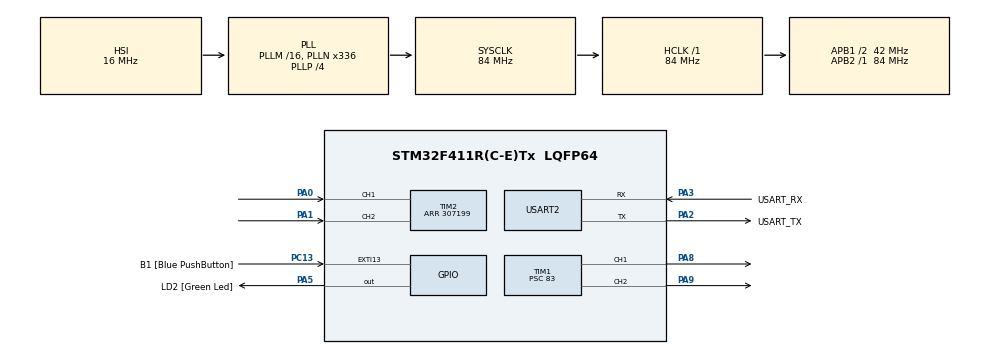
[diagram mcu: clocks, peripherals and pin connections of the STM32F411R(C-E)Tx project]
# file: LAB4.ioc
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Mcu.Family=STM32F4
Mcu.Name=STM32F411R(C-E)Tx
Mcu.Package=LQFP64
NVIC.PriorityGroup=NVIC_PRIORITYGROUP_0
NVIC.TIM2_IRQn=true\:0\:0\:false\:false\:true\:true\:true\:true
PA0-WKUP.Signal=S_TIM2_CH1_ETR
PA1.Signal=S_TIM2_CH2
PA13.GPIO_Label=TMS
PA13.Mode=Serial_Wire
PA13.Signal=SYS_JTMS-SWDIO
PA14.GPIO_Label=TCK
PA14.Mode=Serial_Wire
PA14.Signal=SYS_JTCK-SWCLK
PA2.GPIO_Label=USART_TX
PA2.Mode=Asynchronous
PA2.Signal=USART2_TX
PA3.GPIO_Label=USART_RX
PA3.Mode=Asynchronous
PA3.Signal=USART2_RX
PA5.GPIO_Label=LD2 [Green Led]
PA5.Signal=GPIO_Output
PA8.Signal=S_TIM1_CH1
PA9.Signal=S_TIM1_CH2
PB3.GPIO_Label=SWO
PB3.Signal=SYS_JTDO-SWO
PC13-ANTI_TAMP.GPIO_Label=B1 [Blue PushButton]
PC13-ANTI_TAMP.GPIO_ModeDefaultEXTI=GPIO_MODE_IT_FALLING
PC13-ANTI_TAMP.Signal=GPXTI13
PC14-OSC32_IN.Mode=LSE-External-Oscillator
PC14-OSC32_IN.Signal=RCC_OSC32_IN
PC15-OSC32_OUT.Mode=LSE-External-Oscillator
PC15-OSC32_OUT.Signal=RCC_OSC32_OUT
PH0\ -\ OSC_IN.Mode=HSE-External-Clock-Source
PH0\ -\ OSC_IN.Signal=RCC_OSC_IN
PH1\ -\ OSC_OUT.Mode=HSE-External-Clock-Source
PH1\ -\ OSC_OUT.Signal=RCC_OSC_OUT
ProjectManager.HeapSize=0x200
ProjectManager.StackSize=0x400
ProjectManager.TargetToolchain=STM32CubeIDE
RCC.48MHZClocksFreq_Value=84000000
RCC.AHBFreq_Value=84000000
RCC.APB1CLKDivider=RCC_HCLK_DIV2
RCC.APB1Freq_Value=42000000
RCC.APB1TimFreq_Value=84000000
RCC.APB2Freq_Value=84000000
RCC.APB2TimFreq_Value=84000000
RCC.CortexFreq_Value=84000000
RCC.FLatency-AdvancedSettings=FLASH_LATENCY_2
RCC.HCLKFreq_Value=84000000
RCC.HSE_VALUE=8000000
RCC.HSI_VALUE=16000000
RCC.PLLN=336
RCC.PLLP=RCC_PLLP_DIV4
RCC.SYSCLKFreq_VALUE=84000000
RCC.SYSCLKSource=RCC_SYSCLKSOURCE_PLLCLK
RCC.VCOOutputFreq_Value=336000000
SH.S_TIM1_CH1.0=TIM1_CH1,PWM Generation1 CH1
SH.S_TIM1_CH2.0=TIM1_CH2,PWM Generation2 CH2
SH.S_TIM2_CH1_ETR.0=TIM2_CH1,Encoder_Interface
SH.S_TIM2_CH2.0=TIM2_CH2,Encoder_Interface
TIM1.AutoReloadPreload=TIM_AUTORELOAD_PRELOAD_ENABLE
TIM1.Channel-PWM\ Generation1\ CH1=TIM_CHANNEL_1
TIM1.Channel-PWM\ Generation2\ CH2=TIM_CHANNEL_2
TIM1.OCMode_PWM-PWM\ Generation1\ CH1=TIM_OCMODE_PWM1
TIM1.Period=800
TIM1.Prescaler=83
TIM2.EncoderMode=TIM_ENCODERMODE_TI12
TIM2.Period=307199
USART2.VirtualMode=VM_ASYNC
board=NUCLEO-F411RE

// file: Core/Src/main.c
/* USER CODE BEGIN Header */
/**
  ******************************************************************************
  * @file           : main.c
  * @brief          : Main program body
  ******************************************************************************
  * @attention
  *
  * Copyright (c) 2023 STMicroelectronics.
  * All rights reserved.
  *
  * This software is licensed under terms that can be found in the LICENSE file
  * in the root directory of this software component.
  * If no LICENSE file comes with this software, it is provided AS-IS.
  *
  ******************************************************************************
  */
/* USER CODE END Header */
#include "main.h"

/* USER CODE BEGIN Includes */
#include <stdbool.h>
/* USER CODE END Includes */

TIM_HandleTypeDef htim1;
TIM_HandleTypeDef htim2;

UART_HandleTypeDef huart2;

/* USER CODE BEGIN PV */
uint32_t QEIRead;
int32_t error_within;
uint32_t degree = 800;
uint32_t setposition = 0;
float real_position;
static uint32_t timestamp = 0;
uint8_t status = 0;
double Gain_error, integral_error, differential_error, prev_error;
//TIM3 can't reach to 307199 cuz 2^16(bit) so have to use TIM 2 for setting in 307199 from requirement by using 32 bit 2^32 4294967296 not overflow now

/* USER CODE END PV */

void SystemClock_Config(void);
static void MX_GPIO_Init(void);
static void MX_USART2_UART_Init(void);
static void MX_TIM1_Init(void);
static void MX_TIM2_Init(void);
/* USER CODE BEGIN PFP */
void Motor_drive_control(float VIn);
double PID(int32_t error);
/* USER CODE END PFP */

int main(void)
{

  /* MCU Configuration--------------------------------------------------------*/

  /* Reset of all peripherals, Initializes the Flash interface and the Systick. */
  HAL_Init();

  /* Configure the system clock */
  SystemClock_Config();

  /* Initialize all configured peripherals */
  MX_GPIO_Init();
  MX_USART2_UART_Init();
  MX_TIM1_Init();
  MX_TIM2_Init();
  /* USER CODE BEGIN 2 */

  HAL_TIM_Encoder_Start(&htim2, TIM_CHANNEL_1|TIM_CHANNEL_2);

  HAL_TIM_Base_Start(&htim1);
  HAL_TIM_PWM_Start(&htim1, TIM_CHANNEL_1);
  HAL_TIM_PWM_Start(&htim1, TIM_CHANNEL_2);

  /* USER CODE END 2 */

  /* Infinite loop */
  /* USER CODE BEGIN WHILE */
  while (1)
  {
	  	  QEIRead = __HAL_TIM_GET_COUNTER(&htim2);
	  	  setposition = degree * 8.533333; // degree * (3072/360)=8.533333

	  	  if(timestamp < HAL_GetTick()){
	  		  timestamp = HAL_GetTick()+10;
	  		  real_position = PID(setposition - QEIRead);
	  		  if(real_position >= 800){
	  			  real_position = 800;
	  		  }

	  		  else if(real_position <= -800){
	  			  real_position = -800;
	  		  }
	  		  Motor_drive_control(real_position);
	  	  }
    /* USER CODE END WHILE */

  }
}

void SystemClock_Config(void)
{
  RCC_OscInitTypeDef RCC_OscInitStruct = {0};
  RCC_ClkInitTypeDef RCC_ClkInitStruct = {0};

  /** Configure the main internal regulator output voltage
  */
  __HAL_RCC_PWR_CLK_ENABLE();
  __HAL_PWR_VOLTAGESCALING_CONFIG(PWR_REGULATOR_VOLTAGE_SCALE1);

  /** Initializes the RCC Oscillators according to the specified parameters
  * in the RCC_OscInitTypeDef structure.
  */
  RCC_OscInitStruct.OscillatorType = RCC_OSCILLATORTYPE_HSI;
  RCC_OscInitStruct.HSIState = RCC_HSI_ON;
  RCC_OscInitStruct.HSICalibrationValue = RCC_HSICALIBRATION_DEFAULT;
  RCC_OscInitStruct.PLL.PLLState = RCC_PLL_ON;
  RCC_OscInitStruct.PLL.PLLSource = RCC_PLLSOURCE_HSI;
  RCC_OscInitStruct.PLL.PLLM = 16;
  RCC_OscInitStruct.PLL.PLLN = 336;
  RCC_OscInitStruct.PLL.PLLP = RCC_PLLP_DIV4;
  RCC_OscInitStruct.PLL.PLLQ = 4;
  if (HAL_RCC_OscConfig(&RCC_OscInitStruct) != HAL_OK)
  {
    Error_Handler();
  }

  /** Initializes the CPU, AHB and APB buses clocks
  */
  RCC_ClkInitStruct.ClockType = RCC_CLOCKTYPE_HCLK|RCC_CLOCKTYPE_SYSCLK
                              |RCC_CLOCKTYPE_PCLK1|RCC_CLOCKTYPE_PCLK2;
  RCC_ClkInitStruct.SYSCLKSource = RCC_SYSCLKSOURCE_PLLCLK;
  RCC_ClkInitStruct.AHBCLKDivider = RCC_SYSCLK_DIV1;
  RCC_ClkInitStruct.APB1CLKDivider = RCC_HCLK_DIV2;
  RCC_ClkInitStruct.APB2CLKDivider = RCC_HCLK_DIV1;

  if (HAL_RCC_ClockConfig(&RCC_ClkInitStruct, FLASH_LATENCY_2) != HAL_OK)
  {
    Error_Handler();
  }
}

static void MX_TIM1_Init(void)
{

  TIM_MasterConfigTypeDef sMasterConfig = {0};
  TIM_OC_InitTypeDef sConfigOC = {0};
  TIM_BreakDeadTimeConfigTypeDef sBreakDeadTimeConfig = {0};

  htim1.Instance = TIM1;
  htim1.Init.Prescaler = 83;
  htim1.Init.CounterMode = TIM_COUNTERMODE_UP;
  htim1.Init.Period = 800;
  htim1.Init.ClockDivision = TIM_CLOCKDIVISION_DIV1;
  htim1.Init.RepetitionCounter = 0;
  htim1.Init.AutoReloadPreload = TIM_AUTORELOAD_PRELOAD_ENABLE;
  if (HAL_TIM_PWM_Init(&htim1) != HAL_OK)
  {
    Error_Handler();
  }
  sMasterConfig.MasterOutputTrigger = TIM_TRGO_RESET;
  sMasterConfig.MasterSlaveMode = TIM_MASTERSLAVEMODE_DISABLE;
  if (HAL_TIMEx_MasterConfigSynchronization(&htim1, &sMasterConfig) != HAL_OK)
  {
    Error_Handler();
  }
  sConfigOC.OCMode = TIM_OCMODE_PWM1;
  sConfigOC.Pulse = 0;
  sConfigOC.OCPolarity = TIM_OCPOLARITY_HIGH;
  sConfigOC.OCNPolarity = TIM_OCNPOLARITY_HIGH;
  sConfigOC.OCFastMode = TIM_OCFAST_DISABLE;
  sConfigOC.OCIdleState = TIM_OCIDLESTATE_RESET;
  sConfigOC.OCNIdleState = TIM_OCNIDLESTATE_RESET;
  if (HAL_TIM_PWM_ConfigChannel(&htim1, &sConfigOC, TIM_CHANNEL_1) != HAL_OK)
  {
    Error_Handler();
  }
  if (HAL_TIM_PWM_ConfigChannel(&htim1, &sConfigOC, TIM_CHANNEL_2) != HAL_OK)
  {
    Error_Handler();
  }
  sBreakDeadTimeConfig.OffStateRunMode = TIM_OSSR_DISABLE;
  sBreakDeadTimeConfig.OffStateIDLEMode = TIM_OSSI_DISABLE;
  sBreakDeadTimeConfig.LockLevel = TIM_LOCKLEVEL_OFF;
  sBreakDeadTimeConfig.DeadTime = 0;
  sBreakDeadTimeConfig.BreakState = TIM_BREAK_DISABLE;
  sBreakDeadTimeConfig.BreakPolarity = TIM_BREAKPOLARITY_HIGH;
  sBreakDeadTimeConfig.AutomaticOutput = TIM_AUTOMATICOUTPUT_DISABLE;
  if (HAL_TIMEx_ConfigBreakDeadTime(&htim1, &sBreakDeadTimeConfig) != HAL_OK)
  {
    Error_Handler();
  }
  HAL_TIM_MspPostInit(&htim1);

}

static void MX_TIM2_Init(void)
{

  TIM_Encoder_InitTypeDef sConfig = {0};
  TIM_MasterConfigTypeDef sMasterConfig = {0};

  htim2.Instance = TIM2;
  htim2.Init.Prescaler = 0;
  htim2.Init.CounterMode = TIM_COUNTERMODE_UP;
  htim2.Init.Period = 307199;
  htim2.Init.ClockDivision = TIM_CLOCKDIVISION_DIV1;
  htim2.Init.AutoReloadPreload = TIM_AUTORELOAD_PRELOAD_DISABLE;
  sConfig.EncoderMode = TIM_ENCODERMODE_TI12;
  sConfig.IC1Polarity = TIM_ICPOLARITY_RISING;
  sConfig.IC1Selection = TIM_ICSELECTION_DIRECTTI;
  sConfig.IC1Prescaler = TIM_ICPSC_DIV1;
  sConfig.IC1Filter = 0;
  sConfig.IC2Polarity = TIM_ICPOLARITY_RISING;
  sConfig.IC2Selection = TIM_ICSELECTION_DIRECTTI;
  sConfig.IC2Prescaler = TIM_ICPSC_DIV1;
  sConfig.IC2Filter = 0;
  if (HAL_TIM_Encoder_Init(&htim2, &sConfig) != HAL_OK)
  {
    Error_Handler();
  }
  sMasterConfig.MasterOutputTrigger = TIM_TRGO_RESET;
  sMasterConfig.MasterSlaveMode = TIM_MASTERSLAVEMODE_DISABLE;
  if (HAL_TIMEx_MasterConfigSynchronization(&htim2, &sMasterConfig) != HAL_OK)
  {
    Error_Handler();
  }

}

static void MX_USART2_UART_Init(void)
{

  huart2.Instance = USART2;
  huart2.Init.BaudRate = 115200;
  huart2.Init.WordLength = UART_WORDLENGTH_8B;
  huart2.Init.StopBits = UART_STOPBITS_1;
  huart2.Init.Parity = UART_PARITY_NONE;
  huart2.Init.Mode = UART_MODE_TX_RX;
  huart2.Init.HwFlowCtl = UART_HWCONTROL_NONE;
  huart2.Init.OverSampling = UART_OVERSAMPLING_16;
  if (HAL_UART_Init(&huart2) != HAL_OK)
  {
    Error_Handler();
  }

}

static void MX_GPIO_Init(void)
{
  GPIO_InitTypeDef GPIO_InitStruct = {0};

  /* GPIO Ports Clock Enable */
  __HAL_RCC_GPIOC_CLK_ENABLE();
  __HAL_RCC_GPIOH_CLK_ENABLE();
  __HAL_RCC_GPIOA_CLK_ENABLE();
  __HAL_RCC_GPIOB_CLK_ENABLE();

  /*Configure GPIO pin Output Level */
  HAL_GPIO_WritePin(LD2_GPIO_Port, LD2_Pin, GPIO_PIN_RESET);

  /*Configure GPIO pin : B1_Pin */
  GPIO_InitStruct.Pin = B1_Pin;
  GPIO_InitStruct.Mode = GPIO_MODE_IT_FALLING;
  GPIO_InitStruct.Pull = GPIO_NOPULL;
  HAL_GPIO_Init(B1_GPIO_Port, &GPIO_InitStruct);

  /*Configure GPIO pin : LD2_Pin */
  GPIO_InitStruct.Pin = LD2_Pin;
  GPIO_InitStruct.Mode = GPIO_MODE_OUTPUT_PP;
  GPIO_InitStruct.Pull = GPIO_NOPULL;
  GPIO_InitStruct.Speed = GPIO_SPEED_FREQ_LOW;
  HAL_GPIO_Init(LD2_GPIO_Port, &GPIO_InitStruct);

}

/* USER CODE BEGIN 4 */

double PID(int32_t error){
	double Kp = 2.7;
	double Ki = 0.0002;
	double Kd = 0.1;
	double position;

	Gain_error = error;
	integral_error = integral_error + (error * 0.01);
	differential_error = (error - prev_error) / 0.01;
	position = (Kp * Gain_error) + (Ki * integral_error) + (Kd * differential_error);
	prev_error = error;
	return position;

}

void Motor_drive_control(float drive)
{
	error_within = setposition - QEIRead;

	if(drive >= 800){
		drive = 800;
	}

	else if(drive <= -800){
		drive = -800;
	}

	if ((error_within) >= -4 && (error_within) <= 4) { //+-9&8 //800=6826 //801=6835 //799=6818
	    __HAL_TIM_SET_COMPARE(&htim1, TIM_CHANNEL_1, 0);
	    __HAL_TIM_SET_COMPARE(&htim1, TIM_CHANNEL_2, 0);
	}
	else if(drive > 0){
		if(drive <= 100){
			__HAL_TIM_SET_COMPARE(&htim1, TIM_CHANNEL_1, 100);
			__HAL_TIM_SET_COMPARE(&htim1, TIM_CHANNEL_2, 0);
		}else{
			__HAL_TIM_SET_COMPARE(&htim1, TIM_CHANNEL_1, drive);
			__HAL_TIM_SET_COMPARE(&htim1, TIM_CHANNEL_2, 0);
		}
	}

	else if(drive < 0){
		if(-1*drive <= 100){
			__HAL_TIM_SET_COMPARE(&htim1, TIM_CHANNEL_1, 0);
			__HAL_TIM_SET_COMPARE(&htim1, TIM_CHANNEL_2, 100);
		}else{
			__HAL_TIM_SET_COMPARE(&htim1, TIM_CHANNEL_1, 0);
			__HAL_TIM_SET_COMPARE(&htim1, TIM_CHANNEL_2, -1*drive);
		}
	}

	else if(drive == 0){
		__HAL_TIM_SET_COMPARE(&htim1, TIM_CHANNEL_1, 0);
		__HAL_TIM_SET_COMPARE(&htim1, TIM_CHANNEL_2, 0);
	}
}

/* USER CODE END 4 */

void Error_Handler(void)
{
  __disable_irq();
  while (1)
  {
  }
}
